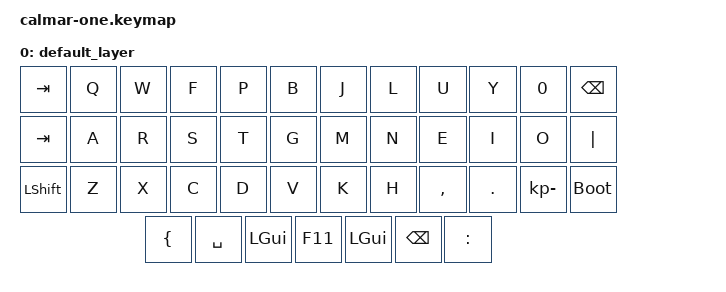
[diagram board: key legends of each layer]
#include <behaviors.dtsi>
#include <dt-bindings/zmk/keys.h>
#include <dt-bindings/zmk/bt.h>

/ {
    keymap {
        compatible = "zmk,keymap";

        default_layer {
            bindings = <
                &kp TAB     &kp Q     &kp W      &kp F     &kp P       &kp B                   &kp J   &kp L   &kp U       &kp Y        &kp N0          &kp BACKSPACE
                &kp TAB     &kp A     &kp R     &kp S   &kp T    &kp G                   &kp M   &kp N   &kp E       &kp I        &kp O           &kp PIPE
                &kp LSHIFT    &kp Z     &kp X     &kp C   &kp D    &kp V                   &kp K   &kp H   &kp COMMA   &kp DOT      &kp KP_MINUS    &bootloader            
                                      &kp LBRC &kp SPACE &kp LGUI  &kp F11 &kp LGUI &kp BSPC &kp COLON       
            >;
        };
    };
};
